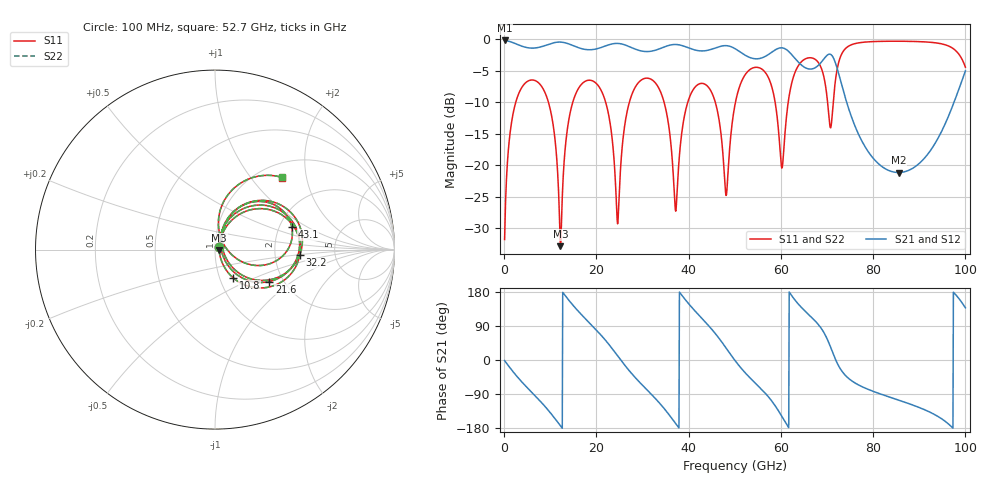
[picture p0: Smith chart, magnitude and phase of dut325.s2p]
! Touchstone file exported from HFSS 2026.1.0
!  File:  C:/ffzhzh/LocalFiles/Ansys_Project_Files/temp_train_TSV_RDL_325_1783702329_45496.aedt
!  Generated:  01:28:20 AM Jul 11, 2026
!  Design:  TSV_RDL
!  Project:  temp_train_TSV_RDL_325_1783702329_45496
! Variables:
!  h_bsmrdl = 3.45um
!  h_ox = 20um
!  h_rdl = 5um
!  h_sub = 88.09um
!  h_tmrdl = 4.86um
!  h_tsv = 88.09um
!  h_via = 3um
!  l_bsmrdl = 660.11um
!  l_sub = 4593.71um
!  l_tmrdl = 526.06um
!  m_sub = 200um
!  pitch = 42.96um
!  r_tsv = 11.66um
!  s_tmrdl = 10um
!  w_bsmrdl = 19.45um
!  w_sub = 500um
!  w_tmrdl = 16.93um
!  x_tsv_center1 = 534.525um
!  x_tsv_center2 = 1214.085um
!  x_tsv_center3 = 1757.075um
!  x_tsv_center4 = 2436.635um
!  x_tsv_center5 = 2979.625um
!  x_tsv_center6 = 3659.185um
# GHz S MA R 50.000000
! Terminal data exported
! Port[1] = TM_RDL1_1_T1
! Port[2] = TM_RDL5_1_T1
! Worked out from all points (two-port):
!   1000 points, 100 MHz to 100 GHz, reference 50 ohm
!   highest |S21| = -0.18 dB at 100 MHz (marker M1); lowest = -21.2 dB at 85.5 GHz (marker M2)
!   |S21| within 3 dB of the highest: start of sweep to 63.23 GHz; 69.25 GHz to 71.53 GHz (2.278 GHz wide, 3.24 % of centre)
!   lowest |S11| = -32.9 dB at 12.2 GHz (marker M3), VSWR 1.05, Z = 52.3 - j0.176 ohm
!   |S11| at or under -10 dB: 9.603 GHz to 14.88 GHz (5.275 GHz wide, 43.1 % of centre); 22.01 GHz to 27.15 GHz (5.136 GHz wide, 20.9 % of centre); 34.68 GHz to 39.81 GHz (5.133 GHz wide, 13.8 % of centre) (the widest 3 of 7)
!   |S22| runs from -32.8 to -0.3 dB; largest |S21 - S12| = 1.3e-12
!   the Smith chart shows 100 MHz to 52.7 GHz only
!   S11 on the Smith chart (normalised r, x): 100 MHz: 1.04, +0.03; 10.8 GHz: 1.16, -0.38; 21.6 GHz: 1.69, -0.69; 32.2 GHz: 2.77, -0.22; 43.1 GHz: 2.33, +0.74; 52.7 GHz: 1.27, +1.46
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0.1  0.02566 35.7  0.9795 -1.7  0.9795 -1.7  0.02566 35.7
! Gamma 0 0 0 0
! Port Impedance 50 0 50 0
3.7  0.4071 30.3  0.8859 -56.1  0.8859 -56.1  0.4071 30.3
10.8  0.188 -57.2  0.9398 -151.2  0.9398 -151.2  0.188 -57.1
12.2  0.02273 -4.2  0.9509 -173.5  0.9509 -173.5  0.02296 -4.2
16.8  0.4407 26.5  0.8429 119.2  0.8429 119.2  0.4407 26.4
21.6  0.3516 -30.4  0.876 57.4  0.876 57.4  0.3516 -30.5
24.6  0.0342 10.1  0.9279 11.1  0.9279 11.1  0.03395 10.1
27.2  0.3215 54.5  0.8727 -29.4  0.8727 -29.4  0.3215 54.6
32.2  0.4727 -3.7  0.8086 -94.1  0.8086 -94.1  0.4727 -3.7
33.4  0.4177 -17.7  0.8331 -109.8  0.8331 -109.8  0.4177 -17.8
37.2  0.0431 14.2  0.9101 -167.8  0.9101 -167.8  0.04296 14.2
43.1  0.4459 16.5  0.8089 106.8  0.8089 106.8  0.4459 16.4
48.1  0.05747 24.9  0.891 31.9  0.891 31.9  0.05687 24.8
50.1  0.3094 77.0  0.8411 -2.1  0.8411 -2.1  0.3093 77.1
52.7  0.5496 46.9  0.7326 -39.5  0.7326 -39.5  0.5495 47.0
58  0.4225 -10.3  0.7888 -108.0  0.7888 -108.0  0.4226 -10.2
60.9  0.182 74.6  0.8413 -162.9  0.8413 -162.9  0.1821 74.5
66.7  0.7118 22.4  0.5816 112.0  0.5816 112.0  0.7117 22.4
71.3  0.3017 62.8  0.7221 17.4  0.7221 17.4  0.3008 62.9
83.4  0.9657 -8.5  0.09072 -97.2  0.09072 -97.2  0.9657 -8.5
85.5  0.9659 -16.0  0.08746 -105.8  0.08746 -105.8  0.9659 -16.0
100  0.6012 -116.5  0.5606 137.7  0.5606 137.7  0.6007 -116.7
